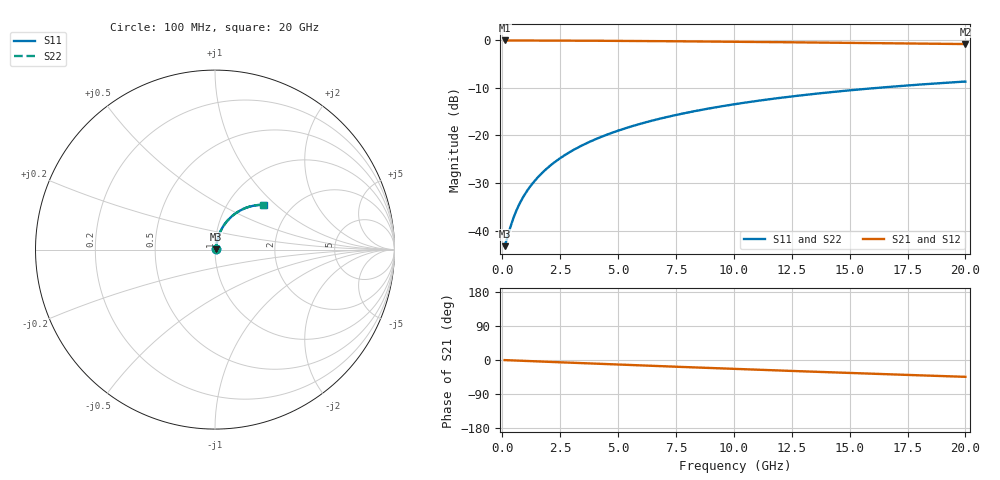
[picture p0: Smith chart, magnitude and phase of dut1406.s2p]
! Touchstone file exported from HFSS 2026.1.0
!  File:  C:/ffzhzh/LocalFiles/Ansys_Project_Files/temp_train_TMRDL_1406_1783166437_55132.aedt
!  Generated:  08:01:46 PM Jul  4, 2026
!  Design:  TMRDL
!  Project:  temp_train_TMRDL_1406_1783166437_55132
! Variables:
!  h_bsmrdl = 2um
!  h_ox = 20um
!  h_rdl = 5um
!  h_sub = 80um
!  h_tmrdl = 3.59um
!  h_tsv = 80um
!  h_via = 3um
!  l_bsmrdl = 300um
!  l_sub = 1109.77um
!  l_tmrdl = 709.77um
!  m_sub = 200um
!  pitch = 24.71um
!  r_tsv = 6um
!  s_tmrdl = 10um
!  w_bsmrdl = 18um
!  w_sub = 500um
!  w_tmrdl = 10.97um
!  x_tsv_center1 = 715.255um
!  x_tsv_center2 = 1033.255um
!  x_tsv_center3 = 1753.995um
!  x_tsv_center4 = 2071.995um
!  x_tsv_center5 = 2792.735um
!  x_tsv_center6 = 3110.735um
# GHz S MA R 50.000000
! Terminal data exported
! Port[1] = TM_RDL1_1_T1
! Port[2] = TM_RDL1_1_T2
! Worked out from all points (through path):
!   200 points, 100 MHz to 20 GHz, reference 50 ohm
!   highest |S21| = -0.06 dB at 100 MHz (marker M1); lowest = -0.8 dB at 20 GHz (marker M2)
!   group delay of S21, straight-line fit = 6.17 ps
!   lowest |S11| = -43.3 dB at 100 MHz (marker M3), VSWR 1.01, Z = 50.6 + j0.251 ohm
!   |S11| at or under -10 dB: start of sweep to 16.25 GHz
!   |S22| runs from -43.3 to -8.7 dB; largest |S21 - S12| = 2.6e-15
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0.1  0.006851 21.2  0.9936 -0.3  0.9936 -0.3  0.006851 21.2
! Gamma 0 0 0 0
! Port Impedance 50 0 50 0
0.4  0.01189 54.3  0.9932 -1.0  0.9932 -1.0  0.01189 54.3
0.5  0.01394 58.9  0.993 -1.2  0.993 -1.2  0.01394 58.9
0.6  0.01603 62.3  0.9928 -1.5  0.9928 -1.5  0.01603 62.3
0.7  0.01814 64.9  0.9927 -1.7  0.9927 -1.7  0.01814 64.9
0.9  0.02242 68.5  0.9924 -2.2  0.9924 -2.2  0.02241 68.5
1.1  0.02674 70.9  0.9921 -2.7  0.9921 -2.7  0.02674 70.9
1.3  0.0311 72.5  0.9919 -3.2  0.9919 -3.2  0.03109 72.5
1.7  0.03989 74.4  0.9914 -4.1  0.9914 -4.1  0.03988 74.5
2.2  0.05094 75.4  0.9906 -5.3  0.9906 -5.3  0.05094 75.5
2.8  0.06421 75.6  0.9895 -6.8  0.9895 -6.8  0.06421 75.6
3.5  0.07961 75.1  0.9879 -8.4  0.9879 -8.4  0.07961 75.1
4.2  0.09486 74.2  0.986 -10.1  0.986 -10.1  0.09486 74.2
5  0.112 72.8  0.9836 -12.0  0.9836 -12.0  0.112 72.9
5.9  0.131 71.1  0.9805 -14.1  0.9805 -14.1  0.131 71.2
6.8  0.1496 69.3  0.9771 -16.2  0.9771 -16.2  0.1496 69.4
8.3  0.1795 66.3  0.9708 -19.6  0.9708 -19.6  0.1795 66.3
10.1  0.2137 62.5  0.9625 -23.6  0.9625 -23.6  0.2137 62.5
11.7  0.2425 59.2  0.9546 -27.1  0.9546 -27.1  0.2425 59.2
13.4  0.2715 55.7  0.9459 -30.8  0.9459 -30.8  0.2715 55.7
16.7  0.3229 49.1  0.9284 -37.7  0.9284 -37.7  0.3229 49.1
20  0.3677 42.6  0.9109 -44.4  0.9109 -44.4  0.3677 42.7
